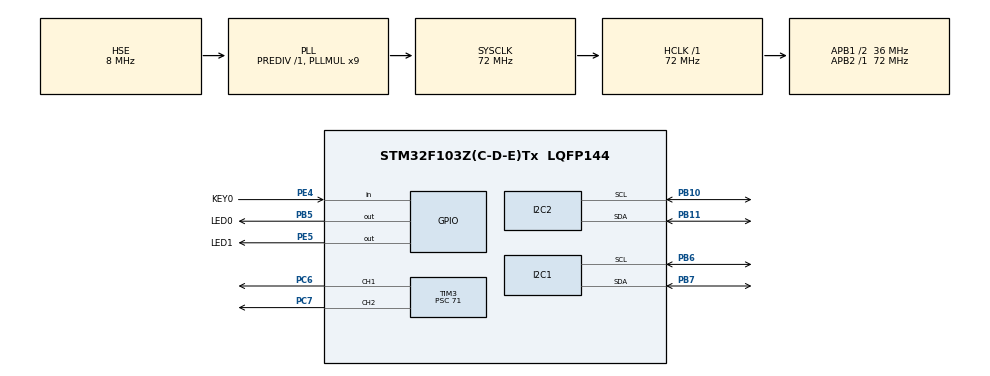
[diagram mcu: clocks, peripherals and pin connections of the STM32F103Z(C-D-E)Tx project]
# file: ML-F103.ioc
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FREERTOS.Tasks01=defaultTask,24,128,StartDefaultTask,Default,NULL,Dynamic,NULL,NULL;myTask02,8,128,StartTask02,Default,NULL,Dynamic,NULL,NULL
I2C1.I2C_Mode=I2C_Fast
I2C2.I2C_Mode=I2C_Fast
Mcu.Family=STM32F1
Mcu.Name=STM32F103Z(C-D-E)Tx
Mcu.Package=LQFP144
NVIC.PriorityGroup=NVIC_PRIORITYGROUP_4
NVIC.TIM4_IRQn=true\:15\:0\:false\:false\:true\:false\:false\:true\:true
NVIC.TimeBase=TIM4_IRQn
NVIC.TimeBaseIP=TIM4
OSC_IN.Mode=HSE-External-Oscillator
OSC_IN.Signal=RCC_OSC_IN
OSC_OUT.Mode=HSE-External-Oscillator
OSC_OUT.Signal=RCC_OSC_OUT
PA13.Mode=Serial_Wire
PA13.Signal=SYS_JTMS-SWDIO
PA14.Mode=Serial_Wire
PA14.Signal=SYS_JTCK-SWCLK
PB10.Mode=I2C
PB10.Signal=I2C2_SCL
PB11.Mode=I2C
PB11.Signal=I2C2_SDA
PB5.GPIO_Label=LED0
PB5.GPIO_Speed=GPIO_SPEED_FREQ_HIGH
PB5.Signal=GPIO_Output
PB6.Mode=I2C
PB6.Signal=I2C1_SCL
PB7.Mode=I2C
PB7.Signal=I2C1_SDA
PC6.GPIO_ModeDefaultPP=GPIO_MODE_AF_PP
PC6.GPIO_Speed=GPIO_SPEED_FREQ_HIGH
PC6.Signal=S_TIM3_CH1
PC7.GPIO_Speed=GPIO_SPEED_FREQ_HIGH
PC7.Signal=S_TIM3_CH2
PE4.GPIO_Label=KEY0
PE4.GPIO_PuPd=GPIO_PULLDOWN
PE4.Signal=GPIO_Input
PE5.GPIO_Label=LED1
PE5.GPIO_PuPd=GPIO_PULLUP
PE5.GPIO_Speed=GPIO_SPEED_FREQ_HIGH
PE5.Signal=GPIO_Output
ProjectManager.HeapSize=0x200
ProjectManager.StackSize=0x400
ProjectManager.TargetToolchain=MDK-ARM V5.32
RCC.AHBFreq_Value=72000000
RCC.APB1CLKDivider=RCC_HCLK_DIV2
RCC.APB1Freq_Value=36000000
RCC.APB1TimFreq_Value=72000000
RCC.APB2Freq_Value=72000000
RCC.APB2TimFreq_Value=72000000
RCC.HCLKFreq_Value=72000000
RCC.PLLMUL=RCC_PLL_MUL9
RCC.PLLSourceVirtual=RCC_PLLSOURCE_HSE
RCC.SYSCLKFreq_VALUE=72000000
RCC.SYSCLKSource=RCC_SYSCLKSOURCE_PLLCLK
RCC.USBFreq_Value=72000000
SH.S_TIM3_CH1.0=TIM3_CH1,PWM Generation1 CH1
SH.S_TIM3_CH2.0=TIM3_CH2,PWM Generation2 CH2
TIM3.AutoReloadPreload=TIM_AUTORELOAD_PRELOAD_ENABLE
TIM3.Channel-PWM\ Generation1\ CH1=TIM_CHANNEL_1
TIM3.Channel-PWM\ Generation2\ CH2=TIM_CHANNEL_2
TIM3.OCPolarity_1=TIM_OCPOLARITY_LOW
TIM3.OCPolarity_2=TIM_OCPOLARITY_LOW
TIM3.Period=2000
TIM3.Prescaler=71
TIM3.Pulse-PWM\ Generation1\ CH1=1000
TIM3.Pulse-PWM\ Generation2\ CH2=1000
VP_FREERTOS_VS_CMSIS_V2.Mode=CMSIS_V2
VP_SYS_VS_tim4.Mode=TIM4
VP_TIM3_VS_ClockSourceINT.Mode=Internal
board=custom

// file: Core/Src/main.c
/* USER CODE BEGIN Header */
/**
  ******************************************************************************
  * @file           : main.c
  * @brief          : Main program body
  ******************************************************************************
  * @attention
  *
  * Copyright (c) 2024 STMicroelectronics.
  * All rights reserved.
  *
  * This software is licensed under terms that can be found in the LICENSE file
  * in the root directory of this software component.
  * If no LICENSE file comes with this software, it is provided AS-IS.
  *
  ******************************************************************************
  */
/* USER CODE END Header */
#include "main.h"
#include "cmsis_os.h"
#include "i2c.h"
#include "tim.h"
#include "gpio.h"

/* USER CODE BEGIN Includes */
#include "tim.h"
/* USER CODE END Includes */

void SystemClock_Config(void);
void MX_FREERTOS_Init(void);

int main(void)
{

  /* MCU Configuration--------------------------------------------------------*/

  /* Reset of all peripherals, Initializes the Flash interface and the Systick. */
  HAL_Init();

  /* Configure the system clock */
  SystemClock_Config();

  /* Initialize all configured peripherals */
  MX_GPIO_Init();
  MX_I2C1_Init();
  MX_I2C2_Init();
  MX_TIM3_Init();
  /* USER CODE BEGIN 2 */

	HAL_TIM_PWM_Start(&htim3,TIM_CHANNEL_1);
	HAL_TIM_PWM_Start(&htim3,TIM_CHANNEL_2);
  /* USER CODE END 2 */

  /* Init scheduler */
  osKernelInitialize();

  /* Call init function for freertos objects (in cmsis_os2.c) */
  MX_FREERTOS_Init();

  /* Start scheduler */
  osKernelStart();

  /* We should never get here as control is now taken by the scheduler */

  /* Infinite loop */
  while (1)
  {

  }
}

void SystemClock_Config(void)
{
  RCC_OscInitTypeDef RCC_OscInitStruct = {0};
  RCC_ClkInitTypeDef RCC_ClkInitStruct = {0};

  /** Initializes the RCC Oscillators according to the specified parameters
  * in the RCC_OscInitTypeDef structure.
  */
  RCC_OscInitStruct.OscillatorType = RCC_OSCILLATORTYPE_HSE;
  RCC_OscInitStruct.HSEState = RCC_HSE_ON;
  RCC_OscInitStruct.HSEPredivValue = RCC_HSE_PREDIV_DIV1;
  RCC_OscInitStruct.HSIState = RCC_HSI_ON;
  RCC_OscInitStruct.PLL.PLLState = RCC_PLL_ON;
  RCC_OscInitStruct.PLL.PLLSource = RCC_PLLSOURCE_HSE;
  RCC_OscInitStruct.PLL.PLLMUL = RCC_PLL_MUL9;
  if (HAL_RCC_OscConfig(&RCC_OscInitStruct) != HAL_OK)
  {
    Error_Handler();
  }

  /** Initializes the CPU, AHB and APB buses clocks
  */
  RCC_ClkInitStruct.ClockType = RCC_CLOCKTYPE_HCLK|RCC_CLOCKTYPE_SYSCLK
                              |RCC_CLOCKTYPE_PCLK1|RCC_CLOCKTYPE_PCLK2;
  RCC_ClkInitStruct.SYSCLKSource = RCC_SYSCLKSOURCE_PLLCLK;
  RCC_ClkInitStruct.AHBCLKDivider = RCC_SYSCLK_DIV1;
  RCC_ClkInitStruct.APB1CLKDivider = RCC_HCLK_DIV2;
  RCC_ClkInitStruct.APB2CLKDivider = RCC_HCLK_DIV1;

  if (HAL_RCC_ClockConfig(&RCC_ClkInitStruct, FLASH_LATENCY_2) != HAL_OK)
  {
    Error_Handler();
  }
}

void HAL_TIM_PeriodElapsedCallback(TIM_HandleTypeDef *htim)
{
  if (htim->Instance == TIM4) {
    HAL_IncTick();
  }
}

void Error_Handler(void)
{
  __disable_irq();
  while (1)
  {
  }
}

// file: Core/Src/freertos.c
/* USER CODE BEGIN Header */
/**
  ******************************************************************************
  * File Name          : freertos.c
  * Description        : Code for freertos applications
  ******************************************************************************
  * @attention
  *
  * Copyright (c) 2024 STMicroelectronics.
  * All rights reserved.
  *
  * This software is licensed under terms that can be found in the LICENSE file
  * in the root directory of this software component.
  * If no LICENSE file comes with this software, it is provided AS-IS.
  *
  ******************************************************************************
  */
/* USER CODE END Header */

#include "FreeRTOS.h"
#include "task.h"
#include "main.h"
#include "cmsis_os.h"

/* USER CODE BEGIN Includes */
#include "mpu6050.h"
#include "tim.h"
/* USER CODE END Includes */

/* Definitions for defaultTask */
osThreadId_t defaultTaskHandle;
const osThreadAttr_t defaultTask_attributes = {
  .name = "defaultTask",
  .stack_size = 128 * 4,
  .priority = (osPriority_t) osPriorityNormal,
};
/* Definitions for myTask02 */
osThreadId_t myTask02Handle;
const osThreadAttr_t myTask02_attributes = {
  .name = "myTask02",
  .stack_size = 128 * 4,
  .priority = (osPriority_t) osPriorityLow,
};

void StartDefaultTask(void *argument);
void StartTask02(void *argument);

void MX_FREERTOS_Init(void); /* (MISRA C 2004 rule 8.1) */

void MX_FREERTOS_Init(void) {

  /* Create the thread(s) */
  /* creation of defaultTask */
  defaultTaskHandle = osThreadNew(StartDefaultTask, NULL, &defaultTask_attributes);

  /* creation of myTask02 */
  myTask02Handle = osThreadNew(StartTask02, NULL, &myTask02_attributes);

}

void StartDefaultTask(void *argument)
{
  /* USER CODE BEGIN StartDefaultTask */
  /* Infinite loop */
  for(;;)
  {
		//HAL_GPIO_WritePin(LED0_GPIO_Port,LED0_Pin,GPIO_PIN_SET);
		HAL_GPIO_WritePin(LED1_GPIO_Port,LED1_Pin,GPIO_PIN_RESET);
    osDelay(500);
		//HAL_GPIO_WritePin(LED0_GPIO_Port,LED0_Pin,GPIO_PIN_RESET);
		HAL_GPIO_WritePin(LED1_GPIO_Port,LED1_Pin,GPIO_PIN_SET);
		osDelay(500);
  }
  /* USER CODE END StartDefaultTask */
}

void StartTask02(void *argument)
{
  /* USER CODE BEGIN StartTask02 */
	float Acel[3];
	float Gyro[3];
	float Temp;
	int cnt = 1000;
	MPU6050_Init();
	while(!MPU6050ReadID()){}
  /* Infinite loop */
  for(;;)
  {
		MPU6050ReadAcc(Acel);
		MPU6050ReadGyro(Gyro);
		MPU6050_ReturnTemp(&Temp);
		cnt += 10;
		if(cnt > 1600) cnt = 1000;
		htim3.Instance->CCR1 = cnt;
		htim3.Instance->CCR2 = cnt;
    osDelay(100);
  }
  /* USER CODE END StartTask02 */
}
